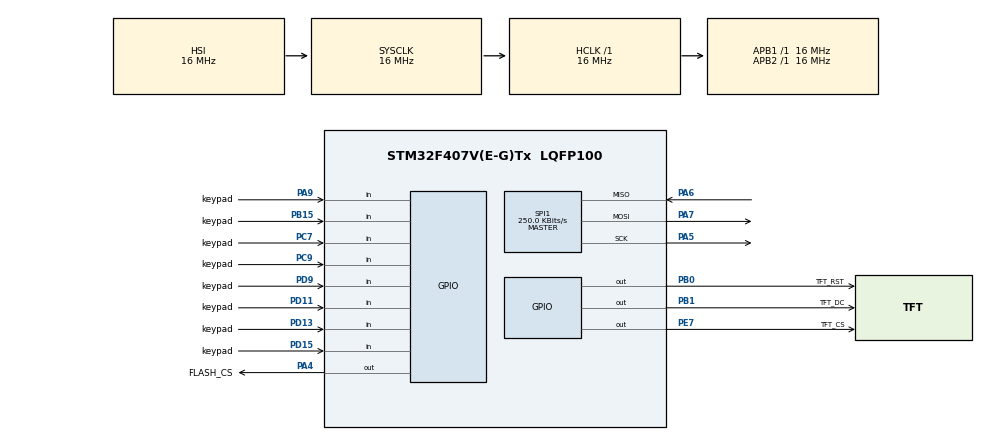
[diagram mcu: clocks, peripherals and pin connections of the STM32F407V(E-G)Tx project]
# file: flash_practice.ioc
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Mcu.Family=STM32F4
Mcu.Name=STM32F407V(E-G)Tx
Mcu.Package=LQFP100
NVIC.PriorityGroup=NVIC_PRIORITYGROUP_4
PA4.GPIO_Label=FLASH_CS
PA4.PinState=GPIO_PIN_SET
PA4.Signal=GPIO_Output
PA5.Mode=Full_Duplex_Master
PA5.Signal=SPI1_SCK
PA6.Mode=Full_Duplex_Master
PA6.Signal=SPI1_MISO
PA7.Mode=Full_Duplex_Master
PA7.Signal=SPI1_MOSI
PA9.GPIO_Label=keypad
PA9.GPIO_PuPd=GPIO_PULLUP
PA9.Signal=GPIO_Input
PB0.GPIO_Label=TFT_RST
PB0.PinState=GPIO_PIN_SET
PB0.Signal=GPIO_Output
PB1.GPIO_Label=TFT_DC
PB1.PinState=GPIO_PIN_SET
PB1.Signal=GPIO_Output
PB15.GPIO_Label=keypad
PB15.GPIO_PuPd=GPIO_PULLUP
PB15.Signal=GPIO_Input
PC14-OSC32_IN.Mode=LSE-External-Oscillator
PC14-OSC32_IN.Signal=RCC_OSC32_IN
PC15-OSC32_OUT.Mode=LSE-External-Oscillator
PC15-OSC32_OUT.Signal=RCC_OSC32_OUT
PC7.GPIO_Label=keypad
PC7.GPIO_PuPd=GPIO_PULLUP
PC7.Signal=GPIO_Input
PC9.GPIO_Label=keypad
PC9.GPIO_PuPd=GPIO_PULLUP
PC9.Signal=GPIO_Input
PD11.GPIO_Label=keypad
PD11.GPIO_PuPd=GPIO_PULLUP
PD11.Signal=GPIO_Input
PD13.GPIO_Label=keypad
PD13.GPIO_PuPd=GPIO_PULLUP
PD13.Signal=GPIO_Input
PD15.GPIO_Label=keypad
PD15.GPIO_PuPd=GPIO_PULLUP
PD15.Signal=GPIO_Input
PD9.GPIO_Label=keypad
PD9.GPIO_PuPd=GPIO_PULLUP
PD9.Signal=GPIO_Input
PE7.GPIO_Label=TFT_CS
PE7.PinState=GPIO_PIN_SET
PE7.Signal=GPIO_Output
ProjectManager.HeapSize=0x200
ProjectManager.StackSize=0x400
ProjectManager.TargetToolchain=STM32CubeIDE
RCC.AHBFreq_Value=16000000
RCC.APB1Freq_Value=16000000
RCC.APB2Freq_Value=16000000
RCC.CortexFreq_Value=16000000
RCC.HSE_VALUE=25000000
RCC.HSI_VALUE=16000000
RCC.SYSCLKFreq_VALUE=16000000
RCC.VCOOutputFreq_Value=192000000
SPI1.BaudRatePrescaler=SPI_BAUDRATEPRESCALER_64
SPI1.CalculateBaudRate=250.0 KBits/s
SPI1.Direction=SPI_DIRECTION_2LINES
SPI1.Mode=SPI_MODE_MASTER
SPI1.VirtualType=VM_MASTER
board=custom

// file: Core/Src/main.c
/* USER CODE BEGIN Header */
/**
  ******************************************************************************
  * @file           : main.c
  * @brief          : Main program body
  ******************************************************************************
  * @attention
  *
  * Copyright (c) 2026 STMicroelectronics.
  * All rights reserved.
  *
  * This software is licensed under terms that can be found in the LICENSE file
  * in the root directory of this software component.
  * If no LICENSE file comes with this software, it is provided AS-IS.
  *
  ******************************************************************************
  */
/* USER CODE END Header */
#include "main.h"

/* USER CODE BEGIN Includes */
#include <stdio.h>
/* USER CODE END Includes */

/* USER CODE BEGIN PTD */
/*
 * has_ 欄位表示資料是否有效：
 * 0：尚未取得資料，顯示 N/A，
 * 1：已取得資料，顯示實際數值
 */
typedef struct
{
    uint8_t id[3];
    uint8_t status;
    uint32_t address;
    uint8_t data[4];

    uint8_t has_id;
    uint8_t has_status;
    uint8_t has_address;
    uint8_t has_data;

} FlashInfo;
/* USER CODE END PTD */

/* USER CODE BEGIN PD */
#define FLASH_CS_GPIO_Port GPIOA
#define FLASH_CS_Pin GPIO_PIN_4
#define TFT_CS_GPIO_Port GPIOE
#define TFT_CS_Pin GPIO_PIN_7
#define TFT_RST_GPIO_Port GPIOB
#define TFT_RST_Pin GPIO_PIN_0
#define TFT_DC_GPIO_Port GPIOB
#define TFT_DC_Pin GPIO_PIN_1

#define TFT_BLACK  0x0000
#define TFT_WHITE  0xFFFF
#define TFT_CYAN   0x07FF
#define TFT_GREEN  0x07E0
#define TFT_YELLOW 0xFFE0
#define TFT_GRAY   0x8410

#define KEY_ROW_COUNT 4
#define KEY_COL_COUNT 3
#define KEY_DEBOUNCE_MS 30
/* USER CODE END PD */

/* USER CODE BEGIN PM */
#define SEL_TFT()   HAL_GPIO_WritePin(TFT_CS_GPIO_Port, TFT_CS_Pin, GPIO_PIN_RESET)
#define UNSEL_TFT()   HAL_GPIO_WritePin(TFT_CS_GPIO_Port, TFT_CS_Pin, GPIO_PIN_SET)

#define SEL_FLASH()   HAL_GPIO_WritePin(FLASH_CS_GPIO_Port, FLASH_CS_Pin, GPIO_PIN_RESET)
#define UNSEL_FLASH()   HAL_GPIO_WritePin(FLASH_CS_GPIO_Port, FLASH_CS_Pin, GPIO_PIN_SET)
/* USER CODE END PM */

SPI_HandleTypeDef hspi1;

/* USER CODE BEGIN PV */
// 5x7 字型，索引依照下面 chars 的順序
static const char chars[] =
    " ABCDEFGHIJKLMNOPQRSTUVWXYZ0123456789:/.-#";

static const uint8_t font[][5] = {
    {0,0,0,0,0},          // space
    {0x7E,0x11,0x11,0x11,0x7E}, // A
    {0x7F,0x49,0x49,0x49,0x36}, // B
    {0x3E,0x41,0x41,0x41,0x22}, // C
    {0x7F,0x41,0x41,0x22,0x1C}, // D
    {0x7F,0x49,0x49,0x49,0x41}, // E
    {0x7F,0x09,0x09,0x09,0x01}, // F
    {0x3E,0x41,0x49,0x49,0x7A}, // G
    {0x7F,0x08,0x08,0x08,0x7F}, // H
    {0x41,0x41,0x7F,0x41,0x41}, // I
    {0x20,0x40,0x41,0x3F,0x01}, // J
    {0x7F,0x08,0x14,0x22,0x41}, // K
    {0x7F,0x40,0x40,0x40,0x40}, // L
    {0x7F,0x02,0x0C,0x02,0x7F}, // M
    {0x7F,0x04,0x08,0x10,0x7F}, // N
    {0x3E,0x41,0x41,0x41,0x3E}, // O
    {0x7F,0x09,0x09,0x09,0x06}, // P
    {0x3E,0x41,0x51,0x21,0x5E}, // Q
    {0x7F,0x09,0x19,0x29,0x46}, // R
    {0x46,0x49,0x49,0x49,0x31}, // S
    {0x01,0x01,0x7F,0x01,0x01}, // T
    {0x3F,0x40,0x40,0x40,0x3F}, // U
    {0x1F,0x20,0x40,0x20,0x1F}, // V
    {0x7F,0x20,0x18,0x20,0x7F}, // W
    {0x63,0x14,0x08,0x14,0x63}, // X
    {0x03,0x04,0x78,0x04,0x03}, // Y
    {0x61,0x51,0x49,0x45,0x43}, // Z

    {0x3E,0x51,0x49,0x45,0x3E}, // 0
    {0x00,0x42,0x7F,0x40,0x00}, // 1
    {0x42,0x61,0x51,0x49,0x46}, // 2
    {0x21,0x41,0x45,0x4B,0x31}, // 3
    {0x18,0x14,0x12,0x7F,0x10}, // 4
    {0x27,0x45,0x45,0x45,0x39}, // 5
    {0x3C,0x4A,0x49,0x49,0x30}, // 6
    {0x01,0x71,0x09,0x05,0x03}, // 7
    {0x36,0x49,0x49,0x49,0x36}, // 8
    {0x06,0x49,0x49,0x29,0x1E}, // 9

    {0x00,0x36,0x36,0x00,0x00}, // :
    {0x20,0x10,0x08,0x04,0x02}, // /
    {0x00,0x60,0x60,0x00,0x00}, // .
    {0x08,0x08,0x08,0x08,0x08}, // -
    {0x14,0x7F,0x14,0x7F,0x14}  // #
};

// P1 (PA9) is unused; the measured row-column contacts suffice.
// 0-based keypad pins: P5/P4/P3/P2 = rows; P8/P7/P6 = columns.
static GPIO_TypeDef *const keypadRowPorts[KEY_ROW_COUNT] = {GPIOD, GPIOD, GPIOC, GPIOC};
static const uint16_t keypadRowPins[KEY_ROW_COUNT] = {GPIO_PIN_13, GPIO_PIN_15, GPIO_PIN_7, GPIO_PIN_9};
static GPIO_TypeDef *const keypadColPorts[KEY_COL_COUNT] = {GPIOB, GPIOD, GPIOD};
static const uint16_t keypadColPins[KEY_COL_COUNT] = {GPIO_PIN_15, GPIO_PIN_9, GPIO_PIN_11};
static const char keypadMap[KEY_ROW_COUNT][KEY_COL_COUNT] = {
    {'1', '2', '3'},
    {'4', '5', '6'},
    {'7', '8', '9'},
    {'R', '0', '#'} // R = REDIAL, since the font does not include '*'
};

/* USER CODE END PV */

void SystemClock_Config(void);
static void MX_GPIO_Init(void);
static void MX_SPI1_Init(void);

/* USER CODE BEGIN PFP */
static void TFT_Command(uint8_t cmd);
static void TFT_Data(uint8_t data);
static void TFT_Init(void);
static void TFT_SetAddressWindow(uint16_t x0, uint16_t y0, uint16_t x1, uint16_t y1);
static void TFT_FillColor(uint16_t color);
static void TFT_DrawChar(uint16_t x, uint16_t y, char c, uint16_t color, uint16_t bg);
static void TFT_DrawString(uint16_t x, uint16_t y, const char *str, uint16_t color, uint16_t bg);
static void TFT_ShowFlashInfo(const FlashInfo *info);
static void TFT_ShowKeypad(char key);
static void Keypad_Init(void);
static char Keypad_Read(void);
static char Keypad_ReadDebounced(void);
static HAL_StatusTypeDef readFlashStatus(FlashInfo *flash);
static HAL_StatusTypeDef readMemory(FlashInfo *flash, uint32_t address);
static HAL_StatusTypeDef waitFlashReady(FlashInfo *flash, uint32_t timeout);
static HAL_StatusTypeDef writeMemory(FlashInfo *flash, uint32_t address, uint8_t data);
static void Flash_RunDemo(void);
/* USER CODE END PFP */

/* USER CODE BEGIN 0 */
static void Keypad_SetRowInput(uint8_t row)
{
    GPIO_InitTypeDef cfg = {0};
    cfg.Pin = keypadRowPins[row];
    cfg.Mode = GPIO_MODE_INPUT;
    cfg.Pull = GPIO_PULLUP;
    HAL_GPIO_Init(keypadRowPorts[row], &cfg);
}

static void Keypad_Init(void)
{
    for (uint8_t r = 0; r < KEY_ROW_COUNT; r++)
        Keypad_SetRowInput(r);

    GPIO_InitTypeDef cfg = {0};
    cfg.Mode = GPIO_MODE_INPUT;
    cfg.Pull = GPIO_PULLUP;
    for (uint8_t c = 0; c < KEY_COL_COUNT; c++) {
        cfg.Pin = keypadColPins[c];
        HAL_GPIO_Init(keypadColPorts[c], &cfg);
    }
}

static char Keypad_Read(void)
{
    for (uint8_t r = 0; r < KEY_ROW_COUNT; r++) {
        Keypad_Init();
        HAL_GPIO_WritePin(keypadRowPorts[r], keypadRowPins[r], GPIO_PIN_RESET);
        GPIO_InitTypeDef cfg = {0};
        cfg.Pin = keypadRowPins[r];
        cfg.Mode = GPIO_MODE_OUTPUT_OD;
        cfg.Pull = GPIO_NOPULL;
        cfg.Speed = GPIO_SPEED_FREQ_LOW;
        HAL_GPIO_Init(keypadRowPorts[r], &cfg);
        HAL_Delay(1);

        for (uint8_t c = 0; c < KEY_COL_COUNT; c++) {
            if (HAL_GPIO_ReadPin(keypadColPorts[c], keypadColPins[c]) == GPIO_PIN_RESET) {
                Keypad_Init();
                return keypadMap[r][c];
            }
        }
    }
    Keypad_Init();
    return '\0';
}

// Non-blocking debouncer: returns the stable current key, or NUL if released.
static char Keypad_ReadDebounced(void)
{
    static char candidate = '\0';
    static char stable = '\0';
    static uint32_t changedAt = 0;
    char raw = Keypad_Read();
    uint32_t now = HAL_GetTick();

    if (raw != candidate) {
        candidate = raw;
        changedAt = now;
    }
    if ((uint32_t)(now - changedAt) >= KEY_DEBOUNCE_MS)
        stable = candidate;
    return stable;
}

static void TFT_Command(uint8_t cmd) {
	SEL_TFT();
	HAL_GPIO_WritePin(TFT_DC_GPIO_Port, TFT_DC_Pin, GPIO_PIN_RESET);
	HAL_SPI_Transmit(&hspi1, &cmd, 1, 1000);
	UNSEL_TFT();
}

static void TFT_Data(uint8_t data) {
	SEL_TFT();
	HAL_GPIO_WritePin(TFT_DC_GPIO_Port, TFT_DC_Pin, GPIO_PIN_SET);
	HAL_SPI_Transmit(&hspi1, &data, 1, 1000);
	UNSEL_TFT();
}

static void TFT_Init(void) {
	HAL_GPIO_WritePin(TFT_RST_GPIO_Port, TFT_RST_Pin, GPIO_PIN_RESET);
	HAL_Delay(20);
	HAL_GPIO_WritePin(TFT_RST_GPIO_Port, TFT_RST_Pin, GPIO_PIN_SET);

	// software reset
	TFT_Command(0x01);
	HAL_Delay(150);

	// sleep out
	TFT_Command(0x11);
	HAL_Delay(120);

	// 16-bit color(color representing format)
	TFT_Command(0x3A);
	TFT_Data(0x05);

	//Memory access control
	TFT_Command(0x36);
	TFT_Data(0xC0); // rotate 180

	// Normal display mode 螢幕進入正常顯示模式，而不是 Partial Display Mode（局部顯示模式）
	TFT_Command(0x13);
	HAL_Delay(10);

	// Display ON
	TFT_Command(0x29);
	HAL_Delay(100);
}

/* read status register*/
static HAL_StatusTypeDef readFlashStatus(FlashInfo* flash){
	if (flash == NULL)
	    return HAL_ERROR;

	flash->has_status = 0;

	SEL_FLASH();
	uint8_t command = 0x05;
	HAL_StatusTypeDef commute_status = HAL_SPI_Transmit(&hspi1, &command, 1, 1000);
	if (commute_status == HAL_OK) {
		commute_status = HAL_SPI_Receive(&hspi1, &flash->status, 1, 1000);
	}
	UNSEL_FLASH();

	if (commute_status == HAL_OK) {
		flash->has_status = 1;
	}
	return commute_status;
}

static HAL_StatusTypeDef readMemory(FlashInfo* flash, uint32_t address){
	if (flash == NULL || address > 0xFFFFFC)
	    return HAL_ERROR;
	flash->has_data = 0;
	flash->has_address = 0;

	uint8_t command[4] = {
			0x03,
			(uint8_t)(address >> 16),
			(uint8_t)(address >> 8),
			(uint8_t)address
	};
	SEL_FLASH();
	HAL_StatusTypeDef status = HAL_SPI_Transmit(&hspi1, command, 4, 1000);
	if (status == HAL_OK) {
		status = HAL_SPI_Receive(&hspi1, flash->data, 4, 1000);
	}
	if (status == HAL_OK) {
		flash->has_data = 1;
		flash->address = address;
		flash->has_address = 1;
	}
	UNSEL_FLASH();
	return status;
}

static HAL_StatusTypeDef waitFlashReady(FlashInfo *flash, uint32_t timeout)
{
    uint32_t start = HAL_GetTick();

    while (1)
    {
        HAL_StatusTypeDef result = readFlashStatus(flash);

        if (result != HAL_OK)
            return result;

        if (!(flash->status & 0x01))
            return HAL_OK;

        if (HAL_GetTick() - start >= timeout)
            return HAL_TIMEOUT;
    }
}

static HAL_StatusTypeDef writeMemory(FlashInfo* flash, uint32_t address, uint8_t data){
	if (flash == NULL || address > 0xFFFFFC)
	    return HAL_ERROR;

	// until not busy
	HAL_StatusTypeDef readStat;
	readStat = waitFlashReady(flash, 1000);
	if (readStat != HAL_OK) return readStat;

	// write enable
	SEL_FLASH();
	uint8_t command = 0x06;
	readStat = HAL_SPI_Transmit(&hspi1, &command, 1, 1000);
	UNSEL_FLASH();
	if (readStat != HAL_OK) return readStat;

	// until enable
	uint32_t start = HAL_GetTick();
	while(1){
		readStat = readFlashStatus(flash);
		if (readStat != HAL_OK)
			return readStat;

		if (flash->status & 0x02) break;

		if (HAL_GetTick() - start >= 1000)
			return HAL_TIMEOUT;
	}

	// write
	SEL_FLASH();
	uint8_t writeCmd[5] = {
			0x02,
			(uint8_t)(address >> 16),
			(uint8_t)(address >> 8),
			(uint8_t)address,
			data
	};
	readStat = HAL_SPI_Transmit(&hspi1, writeCmd, 5, 1000);
	UNSEL_FLASH();
	if (readStat != HAL_OK) return readStat;

	// until not busy
	return waitFlashReady(flash, 1000);
}

/* USER CODE END 0 */

int main(void)
{

  /* MCU Configuration--------------------------------------------------------*/

  /* Reset of all peripherals, Initializes the Flash interface and the Systick. */
  HAL_Init();

  /* Configure the system clock */
  SystemClock_Config();

  /* Initialize all configured peripherals */
  MX_GPIO_Init();
  MX_SPI1_Init();
  /* USER CODE BEGIN 2 */
  TFT_Init();

  Keypad_Init();
  TFT_FillColor(TFT_BLACK);
  TFT_ShowKeypad('\0');
  // Flash_RunDemo(); // Optional: enable flash read/write demo instead of keypad UI.

  FlashInfo flash = {0};

  // read ID
  SEL_FLASH();
  uint8_t command = 0x9F;
  HAL_StatusTypeDef commute_status = HAL_SPI_Transmit(&hspi1, &command, 1, 1000);
  if (commute_status == HAL_OK)
	  commute_status = HAL_SPI_Receive(&hspi1, flash.id, 3, 1000);
  UNSEL_FLASH();
  if (commute_status == HAL_OK) flash.has_id = 1;

  readFlashStatus(&flash);

  // read memory
  readMemory(&flash, 0x123410);
  TFT_ShowFlashInfo(&flash);
  HAL_Delay(5000);

  // write and read
  writeMemory(&flash, 0x123410, 0xAB);
  readMemory(&flash, 0x123410);
  TFT_ShowFlashInfo(&flash);

  HAL_Delay(5000);
  /* USER CODE END 2 */

  /* Infinite loop */
  while (1)
  {

    /* USER CODE BEGIN 3 */
    char key = Keypad_ReadDebounced();
    static char lastDisplayed = '\0';
    if (key != lastDisplayed)
    {
      TFT_ShowKeypad(key);
      lastDisplayed = key;
    }
    HAL_Delay(5);
  }
  /* USER CODE END 3 */
}

void SystemClock_Config(void)
{
  RCC_OscInitTypeDef RCC_OscInitStruct = {0};
  RCC_ClkInitTypeDef RCC_ClkInitStruct = {0};

  /** Configure the main internal regulator output voltage
  */
  __HAL_RCC_PWR_CLK_ENABLE();
  __HAL_PWR_VOLTAGESCALING_CONFIG(PWR_REGULATOR_VOLTAGE_SCALE1);

  /** Initializes the RCC Oscillators according to the specified parameters
  * in the RCC_OscInitTypeDef structure.
  */
  RCC_OscInitStruct.OscillatorType = RCC_OSCILLATORTYPE_HSI;
  RCC_OscInitStruct.HSIState = RCC_HSI_ON;
  RCC_OscInitStruct.HSICalibrationValue = RCC_HSICALIBRATION_DEFAULT;
  RCC_OscInitStruct.PLL.PLLState = RCC_PLL_NONE;
  if (HAL_RCC_OscConfig(&RCC_OscInitStruct) != HAL_OK)
  {
    Error_Handler();
  }

  /** Initializes the CPU, AHB and APB buses clocks
  */
  RCC_ClkInitStruct.ClockType = RCC_CLOCKTYPE_HCLK|RCC_CLOCKTYPE_SYSCLK
                              |RCC_CLOCKTYPE_PCLK1|RCC_CLOCKTYPE_PCLK2;
  RCC_ClkInitStruct.SYSCLKSource = RCC_SYSCLKSOURCE_HSI;
  RCC_ClkInitStruct.AHBCLKDivider = RCC_SYSCLK_DIV1;
  RCC_ClkInitStruct.APB1CLKDivider = RCC_HCLK_DIV1;
  RCC_ClkInitStruct.APB2CLKDivider = RCC_HCLK_DIV1;

  if (HAL_RCC_ClockConfig(&RCC_ClkInitStruct, FLASH_LATENCY_0) != HAL_OK)
  {
    Error_Handler();
  }
}

static void MX_SPI1_Init(void)
{

  /* SPI1 parameter configuration*/
  hspi1.Instance = SPI1;
  hspi1.Init.Mode = SPI_MODE_MASTER;
  hspi1.Init.Direction = SPI_DIRECTION_2LINES;
  hspi1.Init.DataSize = SPI_DATASIZE_8BIT;
  hspi1.Init.CLKPolarity = SPI_POLARITY_LOW;
  hspi1.Init.CLKPhase = SPI_PHASE_1EDGE;
  hspi1.Init.NSS = SPI_NSS_SOFT;
  hspi1.Init.BaudRatePrescaler = SPI_BAUDRATEPRESCALER_64;
  hspi1.Init.FirstBit = SPI_FIRSTBIT_MSB;
  hspi1.Init.TIMode = SPI_TIMODE_DISABLE;
  hspi1.Init.CRCCalculation = SPI_CRCCALCULATION_DISABLE;
  hspi1.Init.CRCPolynomial = 10;
  if (HAL_SPI_Init(&hspi1) != HAL_OK)
  {
    Error_Handler();
  }

}

static void MX_GPIO_Init(void)
{
  GPIO_InitTypeDef GPIO_InitStruct = {0};

  /* GPIO Ports Clock Enable */
  __HAL_RCC_GPIOC_CLK_ENABLE();
  __HAL_RCC_GPIOA_CLK_ENABLE();
  __HAL_RCC_GPIOB_CLK_ENABLE();
  __HAL_RCC_GPIOE_CLK_ENABLE();
  __HAL_RCC_GPIOD_CLK_ENABLE();

  /*Configure GPIO pin Output Level */
  HAL_GPIO_WritePin(FLASH_CS_GPIO_Port, FLASH_CS_Pin, GPIO_PIN_SET);

  /*Configure GPIO pin Output Level */
  HAL_GPIO_WritePin(GPIOB, TFT_RST_Pin|TFT_DC_Pin, GPIO_PIN_SET);

  /*Configure GPIO pin Output Level */
  HAL_GPIO_WritePin(TFT_CS_GPIO_Port, TFT_CS_Pin, GPIO_PIN_SET);

  /*Configure GPIO pin : FLASH_CS_Pin */
  GPIO_InitStruct.Pin = FLASH_CS_Pin;
  GPIO_InitStruct.Mode = GPIO_MODE_OUTPUT_PP;
  GPIO_InitStruct.Pull = GPIO_NOPULL;
  GPIO_InitStruct.Speed = GPIO_SPEED_FREQ_LOW;
  HAL_GPIO_Init(FLASH_CS_GPIO_Port, &GPIO_InitStruct);

  /*Configure GPIO pins : TFT_RST_Pin TFT_DC_Pin */
  GPIO_InitStruct.Pin = TFT_RST_Pin|TFT_DC_Pin;
  GPIO_InitStruct.Mode = GPIO_MODE_OUTPUT_PP;
  GPIO_InitStruct.Pull = GPIO_NOPULL;
  GPIO_InitStruct.Speed = GPIO_SPEED_FREQ_LOW;
  HAL_GPIO_Init(GPIOB, &GPIO_InitStruct);

  /*Configure GPIO pin : TFT_CS_Pin */
  GPIO_InitStruct.Pin = TFT_CS_Pin;
  GPIO_InitStruct.Mode = GPIO_MODE_OUTPUT_PP;
  GPIO_InitStruct.Pull = GPIO_NOPULL;
  GPIO_InitStruct.Speed = GPIO_SPEED_FREQ_LOW;
  HAL_GPIO_Init(TFT_CS_GPIO_Port, &GPIO_InitStruct);

  /*Configure GPIO pin : keypad_Pin */
  GPIO_InitStruct.Pin = keypad_Pin;
  GPIO_InitStruct.Mode = GPIO_MODE_INPUT;
  GPIO_InitStruct.Pull = GPIO_PULLUP;
  HAL_GPIO_Init(keypad_GPIO_Port, &GPIO_InitStruct);

  /*Configure GPIO pins : keypadD9_Pin keypadD11_Pin keypadD13_Pin keypadD15_Pin */
  GPIO_InitStruct.Pin = keypadD9_Pin|keypadD11_Pin|keypadD13_Pin|keypadD15_Pin;
  GPIO_InitStruct.Mode = GPIO_MODE_INPUT;
  GPIO_InitStruct.Pull = GPIO_PULLUP;
  HAL_GPIO_Init(GPIOD, &GPIO_InitStruct);

  /*Configure GPIO pins : keypadC7_Pin keypadC9_Pin */
  GPIO_InitStruct.Pin = keypadC7_Pin|keypadC9_Pin;
  GPIO_InitStruct.Mode = GPIO_MODE_INPUT;
  GPIO_InitStruct.Pull = GPIO_PULLUP;
  HAL_GPIO_Init(GPIOC, &GPIO_InitStruct);

  /*Configure GPIO pin : keypadA9_Pin */
  GPIO_InitStruct.Pin = keypadA9_Pin;
  GPIO_InitStruct.Mode = GPIO_MODE_INPUT;
  GPIO_InitStruct.Pull = GPIO_PULLUP;
  HAL_GPIO_Init(keypadA9_GPIO_Port, &GPIO_InitStruct);

}

/* USER CODE BEGIN 4 */
static void TFT_SetAddressWindow(uint16_t x0, uint16_t y0, uint16_t x1, uint16_t y1)
{
    TFT_Command(0x2A);
    TFT_Data(x0 >> 8);
    TFT_Data(x0 & 0xFF);
    TFT_Data(x1 >> 8);
    TFT_Data(x1 & 0xFF);

    TFT_Command(0x2B);
    TFT_Data(y0 >> 8);
    TFT_Data(y0 & 0xFF);
    TFT_Data(y1 >> 8);
    TFT_Data(y1 & 0xFF);
}

static void TFT_FillColor(uint16_t color)
{
    TFT_SetAddressWindow(0, 0, 127, 159);
    TFT_Command(0x2C);

    uint8_t pixel[2] = {
        (uint8_t)(color >> 8),
        (uint8_t)(color & 0xFF)
    };

    SEL_TFT();
    HAL_GPIO_WritePin(TFT_DC_GPIO_Port, TFT_DC_Pin, GPIO_PIN_SET);

    for (int i = 0; i < 128 * 160; i++)
    {
        HAL_SPI_Transmit(&hspi1, pixel, 2, 1000);
    }

    UNSEL_TFT();
}

static void TFT_DrawChar(uint16_t x, uint16_t y, char c,
                  uint16_t color, uint16_t bg)
{
    if (x + 5 >= 128 || y + 7 >= 160)
        return;

    // Find character in font table
    const uint8_t *glyph = font[0];

    for (unsigned int i = 0; i < sizeof(chars) - 1; i++)
    {
        if (chars[i] == c)
        {
            glyph = font[i];
            break;
        }
    }

    // 6x8 pixels, RGB565 = 2 bytes per pixel
    uint8_t buffer[6 * 8 * 2];

    uint16_t index = 0;

    for (uint8_t row = 0; row < 8; row++)
    {
        for (uint8_t col = 0; col < 6; col++)
        {
            uint16_t pixelColor = bg;

            if (col < 5 && row < 7)
            {
                if (glyph[col] & (1 << row))
                {
                    pixelColor = color;
                }
            }

            buffer[index++] = (uint8_t)(pixelColor >> 8);
            buffer[index++] = (uint8_t)(pixelColor & 0xFF);
        }
    }

    // Set address window once for entire character
    TFT_SetAddressWindow(x, y, x + 5, y + 7);

    // Start memory write
    TFT_Command(0x2C);

    // Send all 48 pixels in one SPI transaction
    SEL_TFT();

    HAL_GPIO_WritePin(
        TFT_DC_GPIO_Port,
        TFT_DC_Pin,
        GPIO_PIN_SET
    );

    HAL_SPI_Transmit(&hspi1, buffer, sizeof(buffer), 1000);

    UNSEL_TFT();
}

static void TFT_DrawString(uint16_t x, uint16_t y, const char *str,
                    uint16_t color, uint16_t bg)
{
    while (*str && x <= 122)
    {
        TFT_DrawChar(x, y, *str, color, bg);
        x += 6;
        str++;
    }
}

static void TFT_ShowFlashInfo(const FlashInfo *info)
{
    if (info == NULL)
        return;

    char buf[32];

    // Clear screen
    TFT_FillColor(TFT_BLACK);

    // Title
    TFT_DrawString(4, 4, "SPI FLASH MONITOR",
                   TFT_CYAN, TFT_BLACK);

    TFT_DrawString(4, 18, "W25Q128JV / SPI1",
                   TFT_GRAY, TFT_BLACK);

    // JEDEC ID
    if (info->has_id)
    {
        snprintf(buf, sizeof(buf), "ID:%02X %02X %02X",
                 info->id[0],
                 info->id[1],
                 info->id[2]);
    }
    else
    {
        snprintf(buf, sizeof(buf), "ID:N/A");
    }

    TFT_DrawString(4, 40, buf, TFT_WHITE, TFT_BLACK);

    // Status Register
    if (info->has_status)
    {
        snprintf(buf, sizeof(buf), "STATUS:%02X",
                 info->status);
    }
    else
    {
        snprintf(buf, sizeof(buf), "STATUS:N/A");
    }

    TFT_DrawString(4, 56, buf, TFT_GREEN, TFT_BLACK);

    // BUSY / WEL
    if (info->has_status)
    {
        snprintf(buf, sizeof(buf), "BUSY:%d WEL:%d",
                 info->status & 0x01,
                 (info->status >> 1) & 0x01);
    }
    else
    {
        snprintf(buf, sizeof(buf), "BUSY:N/A WEL:N/A");
    }

    TFT_DrawString(4, 72, buf, TFT_GREEN, TFT_BLACK);

    // Address
    if (info->has_address)
    {
        snprintf(buf, sizeof(buf), "ADDR:%06lX",
                 (unsigned long)(info->address & 0xFFFFFF));
    }
    else
    {
        snprintf(buf, sizeof(buf), "ADDR:N/A");
    }

    TFT_DrawString(4, 96, buf, TFT_YELLOW, TFT_BLACK);

    // Data
    TFT_DrawString(4, 112, "DATA:",
                   TFT_GRAY, TFT_BLACK);

    if (info->has_data)
    {
        snprintf(buf, sizeof(buf), "%02X %02X %02X %02X",
                 info->data[0],
                 info->data[1],
                 info->data[2],
                 info->data[3]);
    }
    else
    {
        snprintf(buf, sizeof(buf), "N/A");
    }

    TFT_DrawString(4, 124, buf, TFT_WHITE, TFT_BLACK);
}

static void TFT_ShowKeypad(char key)
{
    char line[20] = "KEY: NONE";
    if (key != '\0') {
        line[0] = 'K'; line[1] = 'E'; line[2] = 'Y'; line[3] = ':';
        line[4] = ' '; line[5] = key; line[6] = ' '; line[7] = ' ';
        line[8] = ' '; line[9] = '\0';
    }
    // Draw fixed-width text with background to erase the previous key.
    TFT_DrawString(4, 4, "KEYPAD TEST", TFT_CYAN, TFT_BLACK);
    TFT_DrawString(4, 40, "KEY: NONE   ", TFT_WHITE, TFT_BLACK);
    TFT_DrawString(4, 40, line, TFT_GREEN, TFT_BLACK);
}

static void Flash_RunDemo(void)
{
  FlashInfo flash = {0};

  // read ID
  SEL_FLASH();
  uint8_t command = 0x9F;
  HAL_StatusTypeDef commute_status = HAL_SPI_Transmit(&hspi1, &command, 1, 1000);
  if (commute_status == HAL_OK)
	  commute_status = HAL_SPI_Receive(&hspi1, flash.id, 3, 1000);
  UNSEL_FLASH();
  if (commute_status == HAL_OK) flash.has_id = 1;

  readFlashStatus(&flash);

  // read memory
  readMemory(&flash, 0x123400);
  TFT_ShowFlashInfo(&flash);
  HAL_Delay(15000);

  // write and read
  writeMemory(&flash, 0x123400, 0xAB);
  readMemory(&flash, 0x123400);
  TFT_ShowFlashInfo(&flash);
}

/* USER CODE END 4 */

void Error_Handler(void)
{
  __disable_irq();
  while (1)
  {
  }
}
